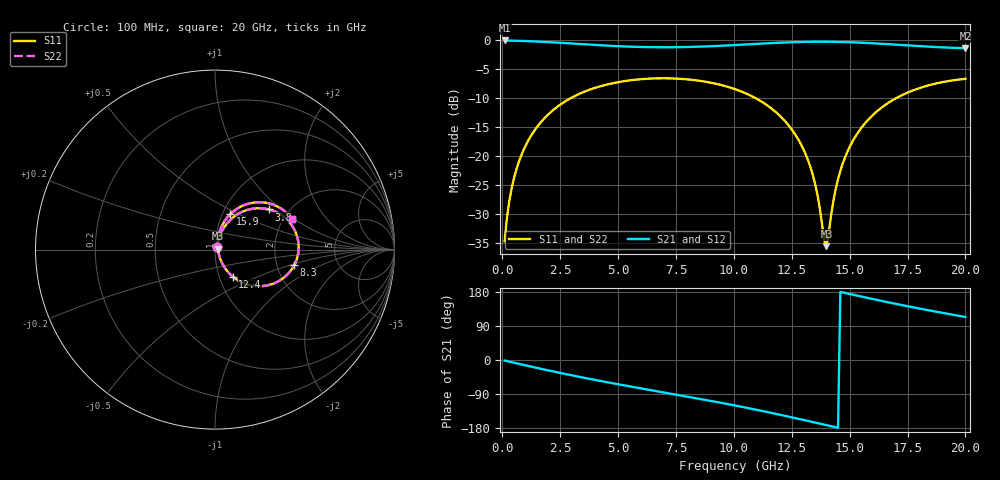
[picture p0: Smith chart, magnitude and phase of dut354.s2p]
! Touchstone file exported from HFSS 2026.1.0
!  File:  C:/ffzhzh/LocalFiles/Ansys_Project_Files/temp_train_TSV_RDL_354_1783037308_51716.aedt
!  Generated:  08:21:36 AM Jul  3, 2026
!  Design:  TSV_RDL
!  Project:  temp_train_TSV_RDL_354_1783037308_51716
! Variables:
!  h_bsmrdl = 4.95um
!  h_ox = 20um
!  h_rdl = 5um
!  h_sub = 76.44um
!  h_tmrdl = 3.8um
!  h_tsv = 76.44um
!  h_via = 3um
!  l_bsmrdl = 390.94um
!  l_sub = 4114.88um
!  l_tmrdl = 594.58um
!  m_sub = 200um
!  pitch = 56.94um
!  r_tsv = 14.83um
!  s_tmrdl = 10um
!  w_bsmrdl = 28.91um
!  w_sub = 500um
!  w_tmrdl = 25.67um
!  x_tsv_center1 = 607.415um
!  x_tsv_center2 = 1027.265um
!  x_tsv_center3 = 1647.515um
!  x_tsv_center4 = 2067.365um
!  x_tsv_center5 = 2687.615um
!  x_tsv_center6 = 3107.465um
# GHz S MA R 50.000000
! Terminal data exported
! Port[1] = TM_RDL1_1_T1
! Port[2] = TM_RDL5_1_T1
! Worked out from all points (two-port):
!   200 points, 100 MHz to 20 GHz, reference 50 ohm
!   highest |S21| = -0.11 dB at 100 MHz (marker M1); lowest = -1.4 dB at 20 GHz (marker M2)
!   |S21| within 3 dB of the highest: start of sweep to end of sweep
!   lowest |S11| = -35.5 dB at 14 GHz (marker M3), VSWR 1.03, Z = 51.6 + j0.443 ohm
!   |S11| at or under -10 dB: start of sweep to 2.977 GHz; 10.92 GHz to 17.03 GHz (6.114 GHz wide, 43.7 % of centre)
!   |S22| runs from -35.6 to -6.6 dB; largest |S21 - S12| = 2.2e-14
!   S11 on the Smith chart (normalised r, x): 100 MHz: 1.03, +0.03; 3.8 GHz: 1.59, +0.83; 8.3 GHz: 2.49, -0.55; 12.4 GHz: 1.16, -0.36; 15.9 GHz: 1.09, +0.45; 20 GHz: 2.21, +0.96
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0.1  0.01846 45.3  0.9873 -1.5  0.9873 -1.5  0.01846 45.3
! Gamma 0 0 0 0
! Port Impedance 50 0 50 0
0.3  0.04068 65.3  0.9849 -4.4  0.9849 -4.4  0.04068 65.3
0.5  0.06381 69.5  0.9824 -7.2  0.9824 -7.2  0.06381 69.5
1.1  0.1333 67.7  0.9741 -15.5  0.9741 -15.5  0.1333 67.7
2.1  0.2392 56.8  0.9528 -28.9  0.9528 -28.9  0.2392 56.8
3.5  0.3544 40.3  0.9153 -46.6  0.9153 -46.6  0.3544 40.3
3.8  0.3736 36.8  0.9075 -50.2  0.9075 -50.2  0.3736 36.8
6.8  0.4662 4.5  0.8629 -83.7  0.8629 -83.7  0.4662 4.5
8.3  0.4496 -11.2  0.8704 -100.0  0.8704 -100.0  0.4497 -11.2
10.1  0.373 -30.9  0.9022 -120.6  0.9022 -120.6  0.373 -30.9
11.4  0.2763 -45.7  0.9321 -136.7  0.9321 -136.7  0.2764 -45.7
12.4  0.1798 -56.8  0.9517 -149.9  0.9517 -149.9  0.1798 -56.8
13  0.1147 -61.7  0.9596 -158.1  0.9596 -158.1  0.1148 -61.8
13.4  0.06977 -61.7  0.9625 -163.6  0.9625 -163.6  0.0698 -61.8
13.9  0.01898 -21.6  0.9634 -170.5  0.9634 -170.5  0.01889 -21.9
14  0.01672 14.9  0.9632 -171.9  0.9632 -171.9  0.01657 14.8
14.4  0.05207 72.5  0.9609 -177.5  0.9609 -177.5  0.05197 72.6
14.7  0.08576 75.8  0.9579 178.4  0.9579 178.4  0.08567 76.0
15.2  0.1415 73.6  0.9506 171.6  0.9506 171.6  0.1414 73.6
15.9  0.2149 66.7  0.9363 162.2  0.9363 162.2  0.2148 66.8
16.7  0.2891 57.7  0.9163 151.8  0.9163 151.8  0.289 57.8
20  0.461 21.8  0.8466 113.5  0.8466 113.5  0.4609 21.9
